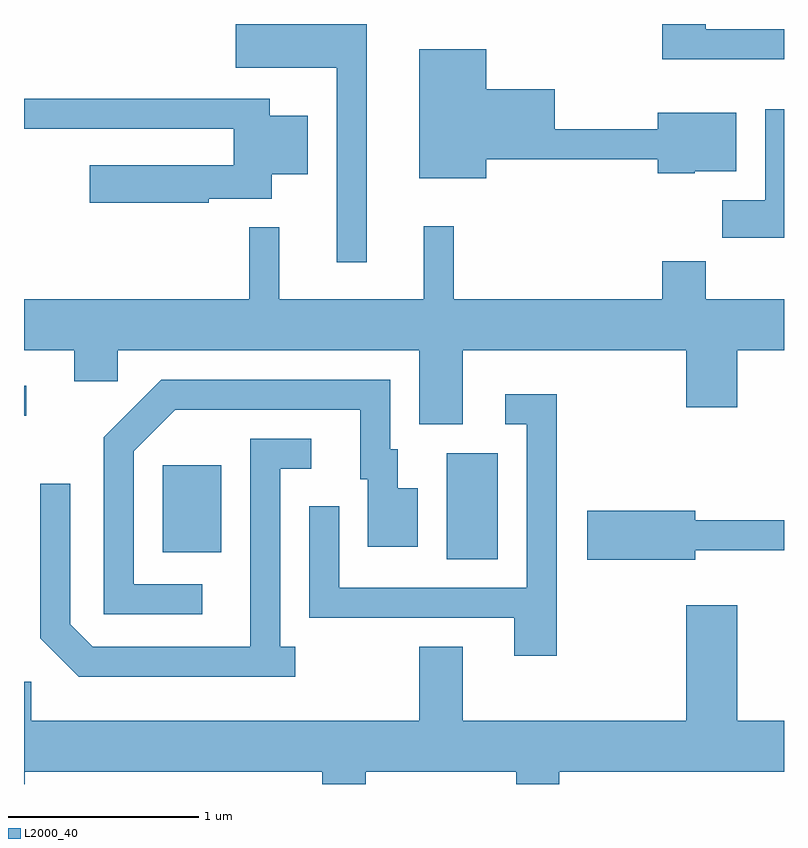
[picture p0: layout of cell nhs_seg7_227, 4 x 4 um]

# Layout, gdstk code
import gdstk
lib = gdstk.Library(unit=1e-6, precision=1e-09)
def R(c, l, rs):  # rectangles x0, y0, x1, y1
    for r in rs: c.add(gdstk.rectangle(r[:2], r[2:], *l))
def P(c, l, *ps):  # polygons
    for p in ps: c.add(gdstk.Polygon(p, *l))
L2000_40 = (2000, 40)

nhs_seg7_227 = lib.new_cell('nhs_seg7_227')
R(nhs_seg7_227, L2000_40, [(193.836,1715.436,194.104,1715.994), (192.341,1715.471,192.649,1715.929), (191.611,1716.191,191.623,1716.349)])
P(nhs_seg7_227, L2000_40, [(195.611,1718.224),(195.199,1718.224),(195.199,1718.252),(194.971,1718.252),(194.971,1718.066),(195.611,1718.066)],
  [(193.414,1718.252),(192.726,1718.252),(192.726,1718.021),(193.256,1718.021),(193.256,1716.998),(193.414,1716.998)],
  [(194.044,1717.541),(194.946,1717.541),(194.946,1717.466),(195.14,1717.466),(195.14,1717.476),(195.359,1717.476),(195.359,1717.784),(194.946,1717.784),(194.946,1717.699),(194.404,1717.699),(194.404,1717.909),(194.044,1717.909),(194.044,1718.119),(193.691,1718.119),(193.691,1717.441),(194.044,1717.441)],
  [(192.584,1717.331),(192.914,1717.331),(192.914,1717.461),(193.104,1717.461),(193.104,1717.769),(192.904,1717.769),(192.904,1717.859),(191.611,1717.859),(191.611,1717.701),(192.716,1717.701),(192.716,1717.509),(191.956,1717.509),(191.956,1717.311),(192.584,1717.311)],
  [(195.611,1717.804),(195.511,1717.804),(195.511,1717.324),(195.286,1717.324),(195.286,1717.126),(195.611,1717.126)],
  [(193.919,1716.536),(195.096,1716.536),(195.096,1716.236),(195.364,1716.236),(195.364,1716.536),(195.611,1716.536),(195.611,1716.804),(195.199,1716.804),(195.199,1717.004),(194.971,1717.004),(194.971,1716.804),(193.874,1716.804),(193.874,1717.188),(193.716,1717.188),(193.716,1716.804),(192.954,1716.804),(192.954,1717.183),(192.796,1717.183),(192.796,1716.804),(191.611,1716.804),(191.611,1716.536),(191.876,1716.536),(191.876,1716.371),(192.104,1716.371),(192.104,1716.536),(193.691,1716.536),(193.691,1716.146),(193.919,1716.146)],
  [(192.548,1715.304),(192.189,1715.304),(192.189,1716.004),(192.407,1716.221),(193.381,1716.221),(193.381,1715.856),(193.421,1715.856),(193.421,1715.501),(193.684,1715.501),(193.684,1715.809),(193.579,1715.809),(193.579,1716.014),(193.539,1716.014),(193.539,1716.379),(192.334,1716.379),(192.031,1716.077),(192.031,1715.146),(192.548,1715.146)],
  [(194.414,1716.304),(194.143,1716.304),(194.143,1716.146),(194.256,1716.146),(194.256,1715.284),(193.269,1715.284),(193.269,1715.713),(193.111,1715.713),(193.111,1715.126),(194.191,1715.126),(194.191,1714.926),(194.414,1714.926)],
  [(193.038,1714.974),(192.959,1714.974),(192.959,1715.911),(193.123,1715.911),(193.123,1716.069),(192.801,1716.069),(192.801,1714.974),(191.972,1714.974),(191.854,1715.092),(191.854,1715.833),(191.696,1715.833),(191.696,1715.019),(191.899,1714.816),(193.038,1714.816)],
  [(195.144,1715.481),(195.611,1715.481),(195.611,1715.639),(195.144,1715.639),(195.144,1715.689),(194.576,1715.689),(194.576,1715.431),(195.144,1715.431)],
  [(191.614,1714.316),(193.181,1714.316),(193.181,1714.252),(193.409,1714.252),(193.409,1714.316),(194.201,1714.316),(194.201,1714.252),(194.429,1714.252),(194.429,1714.316),(195.611,1714.316),(195.611,1714.584),(195.364,1714.584),(195.364,1715.194),(195.096,1715.194),(195.096,1714.584),(193.919,1714.584),(193.919,1714.974),(193.691,1714.974),(193.691,1714.584),(191.649,1714.584),(191.649,1714.789),(191.611,1714.789),(191.611,1714.252),(191.614,1714.252)])

lib.write_gds('nhs_seg7_227.gds')
